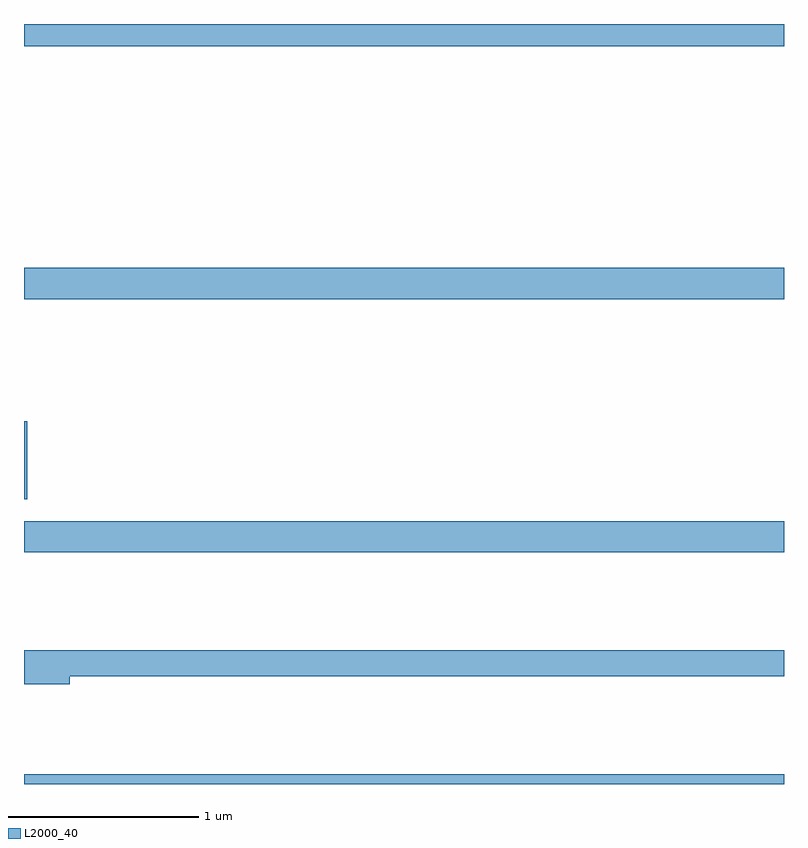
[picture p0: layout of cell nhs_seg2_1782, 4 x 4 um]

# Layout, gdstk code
import gdstk
lib = gdstk.Library(unit=1e-6, precision=1e-09)
def R(c, l, rs):  # rectangles x0, y0, x1, y1
    for r in rs: c.add(gdstk.rectangle(r[:2], r[2:], *l))
def P(c, l, *ps):  # polygons
    for p in ps: c.add(gdstk.Polygon(p, *l))
L2000_40 = (2000, 40)

nhs_seg2_1782 = lib.new_cell('nhs_seg2_1782')
R(nhs_seg2_1782, L2000_40, [(205,595.8,209,595.852), (205,597.02,209,597.184), (205,597.299,205.018,597.709), (205,598.352,209,598.516), (205,599.684,209,599.8)])
P(nhs_seg2_1782, L2000_40, [(205.24,596.368),(209,596.368),(209,596.504),(205.001,596.504),(205.001,596.468),(205,596.468),(205,596.326),(205.24,596.326)])

lib.write_gds('nhs_seg2_1782.gds')
